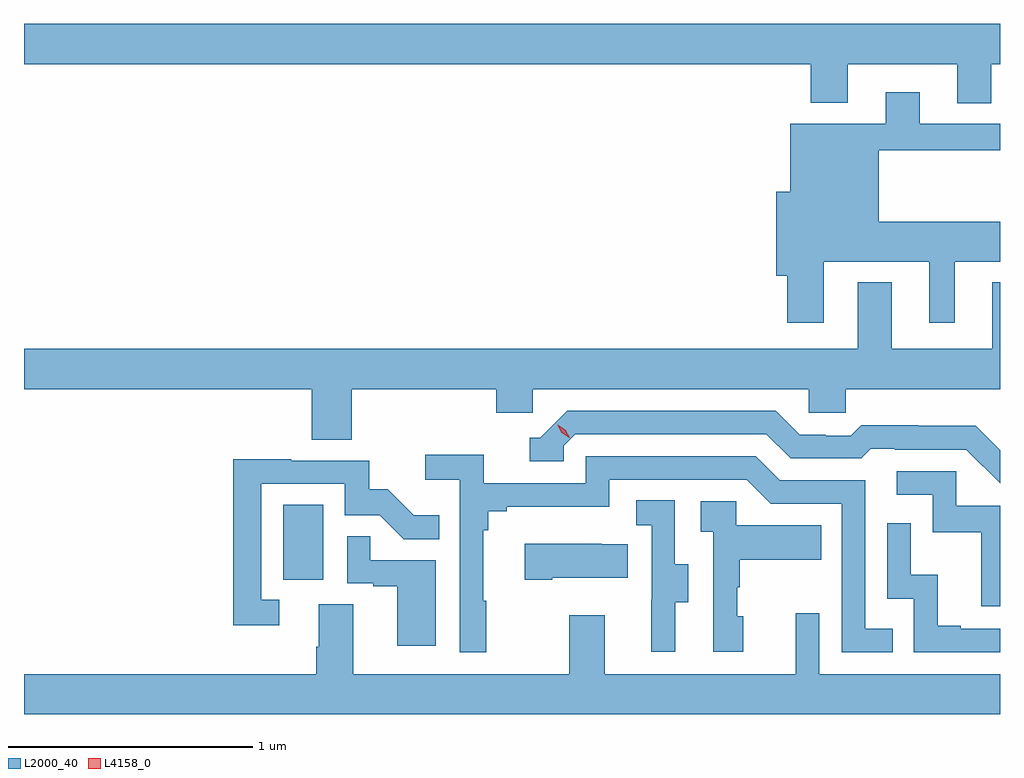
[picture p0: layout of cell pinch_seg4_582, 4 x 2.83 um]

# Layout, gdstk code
import gdstk
lib = gdstk.Library(unit=1e-6, precision=1e-09)
def R(c, l, rs):  # rectangles x0, y0, x1, y1
    for r in rs: c.add(gdstk.rectangle(r[:2], r[2:], *l))
def P(c, l, *ps):  # polygons
    for p in ps: c.add(gdstk.Polygon(p, *l))
L2000_40 = (2000, 40)
L4158_0 = (4158, 0)

pinch_seg4_582 = lib.new_cell('pinch_seg4_582')
R(pinch_seg4_582, L2000_40, [(1053.542,785.382,1053.706,785.689)])
P(pinch_seg4_582, L2000_40, [(1056.445,787.496),(1056.48,787.496),(1056.48,787.66),(1052.48,787.66),(1052.48,787.496),(1055.705,787.496),(1055.705,787.337),(1055.857,787.337),(1055.857,787.496),(1056.305,787.496),(1056.305,787.336),(1056.445,787.336)],
  [(1055.758,786.686),(1056.191,786.686),(1056.191,786.435),(1056.295,786.435),(1056.295,786.686),(1056.48,786.686),(1056.48,786.85),(1055.983,786.85),(1055.983,787.143),(1056.48,787.143),(1056.48,787.251),(1056.151,787.251),(1056.151,787.381),(1056.011,787.381),(1056.011,787.252),(1055.621,787.252),(1055.621,786.973),(1055.564,786.973),(1055.564,786.629),(1055.609,786.629),(1055.609,786.435),(1055.758,786.435)],
  [(1053.824,786.164),(1054.415,786.164),(1054.415,786.066),(1054.566,786.066),(1054.566,786.164),(1055.697,786.164),(1055.697,786.066),(1055.847,786.066),(1055.847,786.164),(1056.48,786.164),(1056.48,786.601),(1056.449,786.601),(1056.449,786.328),(1056.037,786.328),(1056.037,786.601),(1055.897,786.601),(1055.897,786.328),(1052.48,786.328),(1052.48,786.164),(1053.659,786.164),(1053.659,785.956),(1053.824,785.956)],
  [(1056.48,785.913),(1056.38,786.013),(1056.144,786.013),(1056.144,786.016),(1055.911,786.016),(1055.869,785.973),(1055.766,785.973),(1055.766,785.976),(1055.659,785.976),(1055.56,786.075),(1054.707,786.075),(1054.596,785.964),(1054.553,785.964),(1054.553,785.868),(1054.692,785.868),(1054.692,785.931),(1054.74,785.979),(1055.523,785.979),(1055.622,785.88),(1055.911,785.88),(1055.95,785.919),(1056.049,785.919),(1056.049,785.916),(1056.342,785.916),(1056.48,785.778)],
  [(1054.375,785.297),(1054.363,785.297),(1054.363,785.585),(1054.382,785.585),(1054.382,785.662),(1054.459,785.662),(1054.459,785.681),(1054.878,785.681),(1054.878,785.793),(1055.442,785.793),(1055.541,785.694),(1055.832,785.694),(1055.832,785.085),(1056.041,785.085),(1056.041,785.181),(1055.928,785.181),(1055.928,785.79),(1055.578,785.79),(1055.479,785.889),(1054.782,785.889),(1054.782,785.778),(1054.364,785.778),(1054.364,785.894),(1054.125,785.894),(1054.125,785.792),(1054.266,785.792),(1054.266,785.085),(1054.375,785.085)],
  [(1053.526,785.301),(1053.453,785.301),(1053.453,785.775),(1053.795,785.775),(1053.795,785.646),(1053.939,785.646),(1054.037,785.548),(1054.181,785.548),(1054.181,785.647),(1054.077,785.647),(1053.97,785.754),(1053.894,785.754),(1053.894,785.871),(1053.575,785.871),(1053.575,785.876),(1053.337,785.876),(1053.337,785.196),(1053.526,785.196)],
  [(1056.48,785.685),(1056.3,785.685),(1056.3,785.826),(1056.057,785.826),(1056.057,785.73),(1056.204,785.73),(1056.204,785.577),(1056.403,785.577),(1056.403,785.274),(1056.48,785.274)],
  [(1055.149,785.29),(1055.203,785.29),(1055.203,785.445),(1055.148,785.445),(1055.148,785.708),(1054.989,785.708),(1054.989,785.605),(1055.052,785.605),(1055.052,785.301),(1055.051,785.301),(1055.051,785.088),(1055.149,785.088)],
  [(1055.428,785.232),(1055.403,785.232),(1055.403,785.351),(1055.413,785.351),(1055.413,785.465),(1055.747,785.465),(1055.747,785.605),(1055.4,785.605),(1055.4,785.703),(1055.253,785.703),(1055.253,785.579),(1055.304,785.579),(1055.304,785.088),(1055.428,785.088)],
  [(1056.48,785.181),(1056.319,785.181),(1056.319,785.194),(1056.224,785.194),(1056.224,785.402),(1056.114,785.402),(1056.114,785.614),(1056.018,785.614),(1056.018,785.304),(1056.126,785.304),(1056.126,785.085),(1056.48,785.085)],
  [(1054.168,785.463),(1053.899,785.463),(1053.899,785.561),(1053.804,785.561),(1053.804,785.367),(1053.911,785.367),(1053.911,785.355),(1054.01,785.355),(1054.01,785.112),(1054.168,785.112)],
  [(1054.645,785.39),(1054.955,785.39),(1054.955,785.527),(1054.847,785.527),(1054.847,785.53),(1054.533,785.53),(1054.533,785.383),(1054.645,785.383)],
  [(1056.48,784.996),(1055.739,784.996),(1055.739,785.245),(1055.642,785.245),(1055.642,784.996),(1054.861,784.996),(1054.861,785.236),(1054.714,785.236),(1054.714,784.996),(1053.829,784.996),(1053.829,785.282),(1053.689,785.282),(1053.689,785.108),(1053.677,785.108),(1053.677,784.996),(1052.48,784.996),(1052.48,784.832),(1056.48,784.832)])
P(pinch_seg4_582, L4158_0, [(1054.715,785.964),(1054.684,785.984),(1054.668,786.016),(1054.668,786.017),(1054.668,786.017),(1054.699,785.997),(1054.716,785.965),(1054.716,785.964)])

lib.write_gds('pinch_seg4_582.gds')
